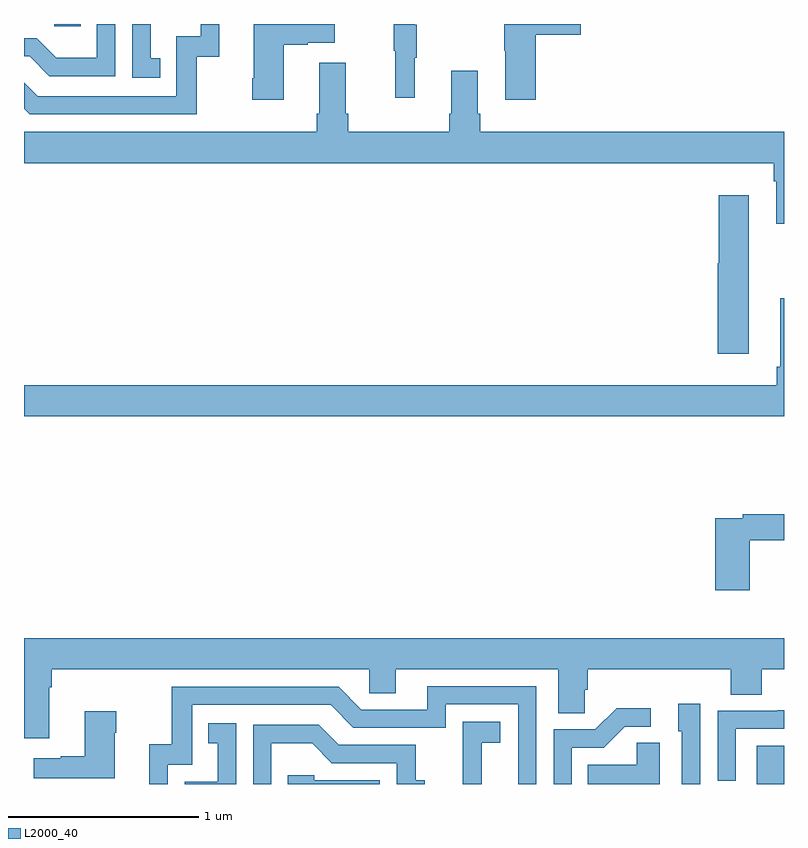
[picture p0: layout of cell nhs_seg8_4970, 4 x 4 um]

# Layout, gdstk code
import gdstk
lib = gdstk.Library(unit=1e-6, precision=1e-09)
def R(c, l, rs):  # rectangles x0, y0, x1, y1
    for r in rs: c.add(gdstk.rectangle(r[:2], r[2:], *l))
def P(c, l, *ps):  # polygons
    for p in ps: c.add(gdstk.Polygon(p, *l))
L2000_40 = (2000, 40)

nhs_seg8_4970 = lib.new_cell('nhs_seg8_4970')
R(nhs_seg8_4970, L2000_40, [(414.857,1111.9,415,1112.101), (411.159,1115.889,411.299,1115.9)])
P(nhs_seg8_4970, L2000_40, [(413.057,1115.723),(413.068,1115.723),(413.068,1115.897),(413.057,1115.897),(413.057,1115.9),(412.947,1115.9),(412.947,1115.76),(412.954,1115.76),(412.954,1115.511),(413.057,1115.511)],
  [(411.716,1115.721),(411.667,1115.721),(411.667,1115.9),(411.57,1115.9),(411.57,1115.616),(411.716,1115.616)],
  [(411.48,1115.9),(411.384,1115.9),(411.384,1115.722),(411.17,1115.722),(411.066,1115.826),(411,1115.826),(411,1115.73),(411.029,1115.73),(411.134,1115.625),(411.48,1115.625)],
  [(412.366,1115.791),(412.493,1115.791),(412.493,1115.801),(412.636,1115.801),(412.636,1115.9),(412.208,1115.9),(412.208,1115.614),(412.201,1115.614),(412.201,1115.502),(412.366,1115.502)],
  [(413.693,1115.843),(413.929,1115.843),(413.929,1115.9),(413.527,1115.9),(413.527,1115.759),(413.534,1115.759),(413.534,1115.502),(413.693,1115.502)],
  [(411.91,1115.727),(412.028,1115.727),(412.028,1115.9),(411.93,1115.9),(411.93,1115.835),(411.801,1115.835),(411.801,1115.52),(411.072,1115.52),(411,1115.592),(411,1115.454),(411.03,1115.424),(411.91,1115.424)],
  [(415,1115.332),(413.402,1115.332),(413.402,1115.428),(413.389,1115.428),(413.389,1115.653),(413.249,1115.653),(413.249,1115.428),(413.237,1115.428),(413.237,1115.332),(412.706,1115.332),(412.706,1115.428),(412.693,1115.428),(412.693,1115.695),(412.553,1115.695),(412.553,1115.428),(412.541,1115.428),(412.541,1115.332),(411,1115.332),(411,1115.168),(414.947,1115.168),(414.947,1115.072),(414.959,1115.072),(414.959,1114.848),(415,1114.848)],
  [(414.814,1114.999),(414.656,1114.999),(414.656,1114.641),(414.65,1114.641),(414.65,1114.164),(414.814,1114.164)],
  [(415,1114.456),(414.98,1114.456),(414.98,1114.096),(414.961,1114.096),(414.961,1114),(411,1114),(411,1113.836),(415,1113.836)],
  [(414.821,1113.184),(415,1113.184),(415,1113.32),(414.784,1113.32),(414.784,1113.3),(414.638,1113.3),(414.638,1112.919),(414.821,1112.919)],
  [(411.133,1112.408),(411.146,1112.408),(411.146,1112.504),(412.818,1112.504),(412.818,1112.377),(412.957,1112.377),(412.957,1112.504),(413.813,1112.504),(413.813,1112.272),(413.952,1112.272),(413.952,1112.395),(413.966,1112.395),(413.966,1112.504),(414.719,1112.504),(414.719,1112.371),(414.884,1112.371),(414.884,1112.504),(415,1112.504),(415,1112.668),(411,1112.668),(411,1112.142),(411.133,1112.142)],
  [(411.756,1112.001),(411.885,1112.001),(411.885,1112.316),(412.614,1112.316),(412.734,1112.196),(413.22,1112.196),(413.22,1112.319),(413.601,1112.319),(413.601,1111.9),(413.697,1111.9),(413.697,1112.415),(413.123,1112.415),(413.123,1112.292),(412.776,1112.292),(412.656,1112.412),(411.777,1112.412),(411.777,1112.11),(411.659,1112.11),(411.659,1111.9),(411.756,1111.9)],
  [(414.558,1112.323),(414.443,1112.323),(414.443,1112.178),(414.462,1112.178),(414.462,1111.9),(414.558,1111.9)],
  [(413.883,1112.091),(414.052,1112.091),(414.163,1112.202),(414.298,1112.202),(414.298,1112.3),(414.119,1112.3),(414.006,1112.187),(413.787,1112.187),(413.787,1111.9),(413.883,1111.9)],
  [(414.747,1112.19),(415,1112.19),(415,1112.288),(414.967,1112.288),(414.967,1112.286),(414.651,1112.286),(414.651,1111.917),(414.747,1111.917)],
  [(411.478,1112.171),(411.486,1112.171),(411.486,1112.284),(411.32,1112.284),(411.32,1112.045),(411.194,1112.045),(411.194,1112.035),(411.051,1112.035),(411.051,1111.931),(411.478,1111.931)],
  [(413.408,1112.117),(413.506,1112.117),(413.506,1112.227),(413.308,1112.227),(413.308,1112.021),(413.309,1112.021),(413.309,1111.9),(413.408,1111.9)],
  [(412.116,1112.221),(411.97,1112.221),(411.97,1112.115),(412.019,1112.115),(412.019,1111.911),(411.846,1111.911),(411.846,1111.9),(412.116,1111.9)],
  [(412.302,1112.114),(412.516,1112.114),(412.62,1112.01),(412.962,1112.01),(412.962,1111.9),(413.11,1111.9),(413.11,1111.921),(413.061,1111.921),(413.061,1112.106),(412.657,1112.106),(412.552,1112.211),(412.206,1112.211),(412.206,1111.9),(412.302,1111.9)],
  [(414.346,1112.117),(414.225,1112.117),(414.225,1112.002),(413.968,1112.002),(413.968,1111.9),(414.346,1111.9)],
  [(412.872,1111.92),(412.527,1111.92),(412.527,1111.947),(412.387,1111.947),(412.387,1111.9),(412.872,1111.9)])

lib.write_gds('nhs_seg8_4970.gds')
